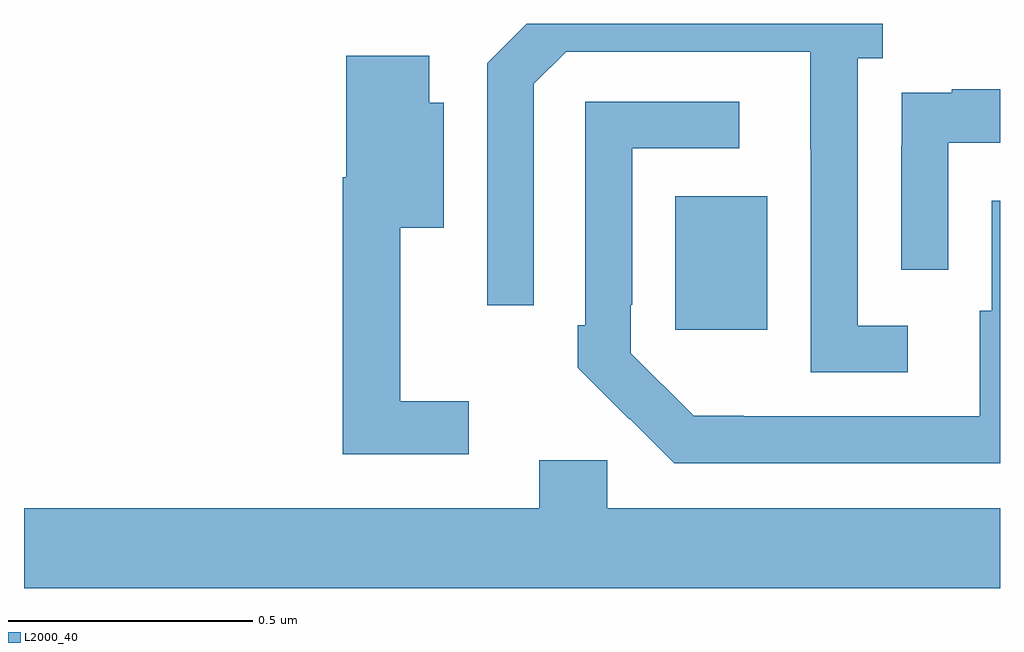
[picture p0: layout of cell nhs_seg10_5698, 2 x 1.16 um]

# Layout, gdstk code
import gdstk
lib = gdstk.Library(unit=1e-6, precision=1e-09)
def R(c, l, rs):  # rectangles x0, y0, x1, y1
    for r in rs: c.add(gdstk.rectangle(r[:2], r[2:], *l))
def P(c, l, *ps):  # polygons
    for p in ps: c.add(gdstk.Polygon(p, *l))
L2000_40 = (2000, 40)

nhs_seg10_5698 = lib.new_cell('nhs_seg10_5698')
R(nhs_seg10_5698, L2000_40, [(183.335,1272.873,183.523,1273.147)])
P(nhs_seg10_5698, L2000_40, [(183.811,1272.882),(183.708,1272.882),(183.708,1273.43),(183.76,1273.43),(183.76,1273.5),(183.03,1273.5),(182.949,1273.419),(182.949,1272.924),(183.045,1272.924),(183.045,1273.377),(183.111,1273.443),(183.611,1273.443),(183.611,1273.243),(183.612,1273.243),(183.612,1272.786),(183.811,1272.786)],
  [(182.911,1272.727),(182.771,1272.727),(182.771,1273.082),(182.86,1273.082),(182.86,1273.339),(182.83,1273.339),(182.83,1273.435),(182.66,1273.435),(182.66,1273.186),(182.653,1273.186),(182.653,1272.618),(182.911,1272.618)],
  [(183.894,1273.257),(184,1273.257),(184,1273.366),(183.901,1273.366),(183.901,1273.359),(183.799,1273.359),(183.799,1273.25),(183.798,1273.25),(183.798,1272.996),(183.894,1272.996)],
  [(184,1273.138),(183.983,1273.138),(183.983,1272.912),(183.959,1272.912),(183.959,1272.696),(183.475,1272.696),(183.475,1272.697),(183.372,1272.697),(183.243,1272.825),(183.243,1272.925),(183.246,1272.925),(183.246,1273.245),(183.466,1273.245),(183.466,1273.341),(183.15,1273.341),(183.15,1272.883),(183.135,1272.883),(183.135,1272.795),(183.24,1272.69),(183.241,1272.691),(183.332,1272.6),(184,1272.6)],
  [(184,1272.508),(183.195,1272.508),(183.195,1272.606),(183.056,1272.606),(183.056,1272.508),(182,1272.508),(182,1272.344),(184,1272.344)])

lib.write_gds('nhs_seg10_5698.gds')
